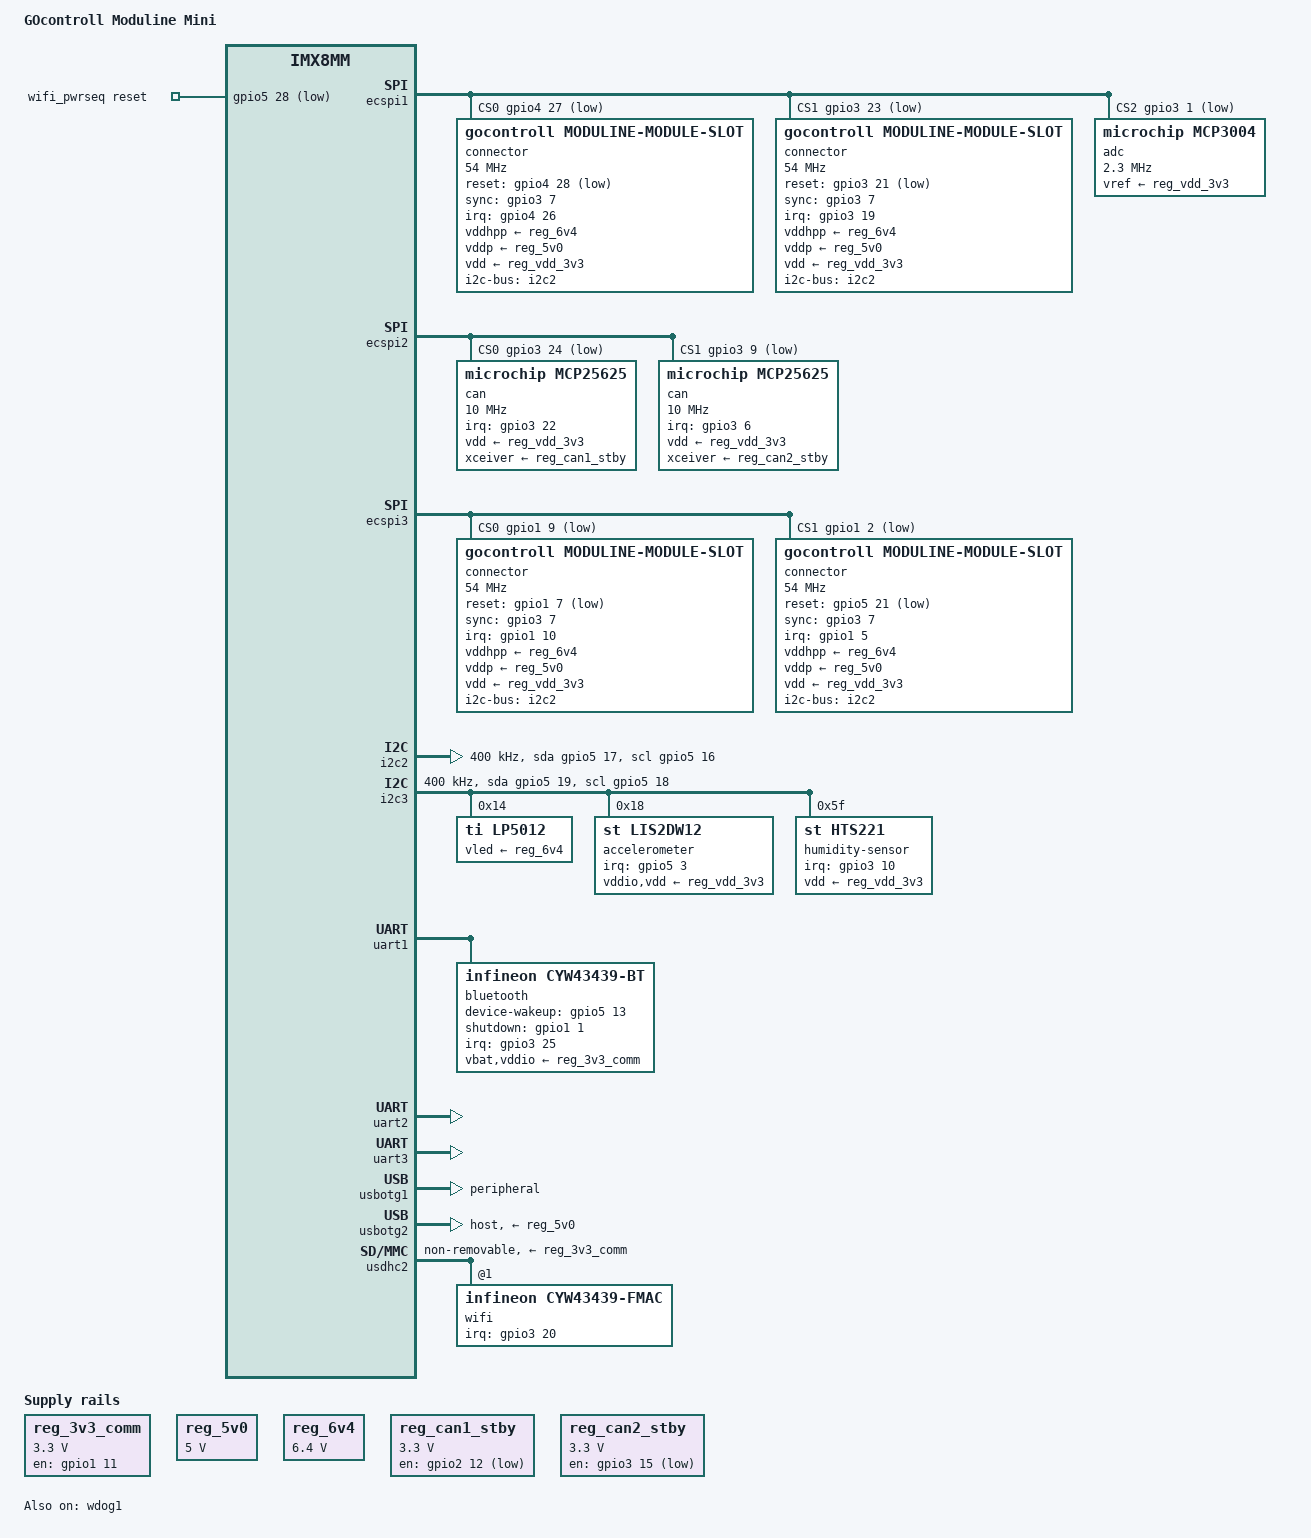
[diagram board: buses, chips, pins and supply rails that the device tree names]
// SPDX-License-Identifier: (GPL-2.0 OR MIT)
/*
 * Copyright (C) 2025 Maud Spierings <maudspierings@gocontroll.com>
 */

/dts-v1/;

#include <dt-bindings/leds/common.h>

#include "imx8mm-tx8m-1610.dtsi"

/ {
	chassis-type = "embedded";
	compatible = "gocontroll,moduline-mini-111", "karo,tx8m-1610", "fsl,imx8mm";
	hardware = "Moduline Mini V1.11";
	model = "GOcontroll Moduline Mini";

	aliases {
		spi0 = &ecspi2; /* spidev number compatibility */
		spi1 = &ecspi3; /* spidev number compatibility */
		spi2 = &ecspi1; /* spidev number compatibility */
	};

	chosen {
		stdout-path = "serial2:115200n8";
	};

	mcp_clock: mcp-clock {
		compatible = "fixed-clock";
		#clock-cells = <0>;
		clock-frequency = <20000000>;
	};

	reg_3v3_comm: regulator-3v3-communication {
		compatible = "regulator-fixed";
		enable-active-high;
		gpio = <&gpio1 11 GPIO_ACTIVE_HIGH>;
		pinctrl-0 = <&pinctrl_reg_comm>;
		pinctrl-names = "default";
		power-supply = <&reg_6v4>;
		/* also powers the cellular modem which can't vote on the regulator */
		regulator-always-on;
		regulator-max-microvolt = <3300000>;
		regulator-min-microvolt = <3300000>;
		regulator-name = "3v3_comm";
	};

	reg_5v0: regulator-5v0 {
		compatible = "regulator-fixed";
		power-supply = <&reg_6v4>;
		regulator-always-on;
		regulator-max-microvolt = <5000000>;
		regulator-min-microvolt = <5000000>;
		regulator-name = "5v0";
	};

	reg_6v4: regulator-6v4 {
		compatible = "regulator-fixed";
		regulator-always-on;
		regulator-max-microvolt = <6400000>;
		regulator-min-microvolt = <6400000>;
		regulator-name = "6v4";
	};

	reg_can1_stby: regulator-can1-stby {
		compatible = "regulator-fixed";
		gpio = <&gpio2 12 GPIO_ACTIVE_LOW>;
		pinctrl-0 = <&pinctrl_can1_reg>;
		pinctrl-names = "default";
		regulator-max-microvolt = <3300000>;
		regulator-min-microvolt = <3300000>;
		regulator-name = "can1-stby";
	};

	reg_can2_stby: regulator-can2-stby {
		compatible = "regulator-fixed";
		gpio = <&gpio3 15 GPIO_ACTIVE_LOW>;
		pinctrl-0 = <&pinctrl_can2_reg>;
		pinctrl-names = "default";
		regulator-max-microvolt = <3300000>;
		regulator-min-microvolt = <3300000>;
		regulator-name = "can2-stby";
	};

	wifi_pwrseq: wifi-pwrseq {
		compatible = "mmc-pwrseq-simple";
		pinctrl-0 = <&pinctrl_wl_reg>;
		pinctrl-names = "default";
		post-power-on-delay-ms = <100>;
		power-off-delay-us = <500000>;
		reset-gpios = <&gpio5 28 GPIO_ACTIVE_LOW>;
	};
};

&ecspi1 {
	cs-gpios = <&gpio4 27 GPIO_ACTIVE_LOW>,
		   <&gpio3 23 GPIO_ACTIVE_LOW>,
		   <&gpio3 1 GPIO_ACTIVE_LOW>;
	pinctrl-0 = <&pinctrl_ecspi1>;
	pinctrl-names = "default";
	status = "okay";

	connector@0 {
		compatible = "gocontroll,moduline-module-slot";
		reg = <0>;
		i2c-bus = <&i2c2>;
		interrupt-parent = <&gpio4>;
		interrupts = <26 IRQ_TYPE_EDGE_FALLING>;
		reset-gpios = <&gpio4 28 GPIO_ACTIVE_LOW>;
		slot-number = <3>;
		spi-max-frequency = <54000000>;
		sync-gpios = <&gpio3 7 GPIO_ACTIVE_HIGH>;
		vddhpp-supply = <&reg_6v4>;
		vddp-supply = <&reg_5v0>;
		vdd-supply = <&reg_vdd_3v3>;
	};

	connector@1 {
		compatible = "gocontroll,moduline-module-slot";
		reg = <1>;
		i2c-bus = <&i2c2>;
		interrupt-parent = <&gpio3>;
		interrupts = <19 IRQ_TYPE_EDGE_FALLING>;
		reset-gpios = <&gpio3 21 GPIO_ACTIVE_LOW>;
		slot-number = <4>;
		spi-max-frequency = <54000000>;
		sync-gpios = <&gpio3 7 GPIO_ACTIVE_HIGH>;
		vddhpp-supply = <&reg_6v4>;
		vddp-supply = <&reg_5v0>;
		vdd-supply = <&reg_vdd_3v3>;
	};

	adc@2 {
		compatible = "microchip,mcp3004";
		reg = <2>;
		spi-max-frequency = <2300000>;
		vref-supply = <&reg_vdd_3v3>;
	};
};

&ecspi2 {
	cs-gpios = <&gpio3 24 GPIO_ACTIVE_LOW>,
		   <&gpio3 9 GPIO_ACTIVE_LOW>;
	pinctrl-0 = <&pinctrl_ecspi2>;
	pinctrl-names = "default";
	status = "okay";

	can@0 {
		compatible = "microchip,mcp25625";
		reg = <0>;
		clocks = <&mcp_clock>;
		interrupt-parent = <&gpio3>;
		interrupts = <22 IRQ_TYPE_LEVEL_LOW>;
		pinctrl-0 = <&pinctrl_can1>;
		pinctrl-names = "default";
		spi-max-frequency = <10000000>;
		vdd-supply = <&reg_vdd_3v3>;
		xceiver-supply = <&reg_can1_stby>;
	};

	can@1 {
		compatible = "microchip,mcp25625";
		reg = <1>;
		clocks = <&mcp_clock>;
		interrupt-parent = <&gpio3>;
		interrupts = <6 IRQ_TYPE_LEVEL_LOW>;
		pinctrl-0 = <&pinctrl_can2>;
		pinctrl-names = "default";
		spi-max-frequency = <10000000>;
		vdd-supply = <&reg_vdd_3v3>;
		xceiver-supply = <&reg_can2_stby>;
	};
};

&ecspi3 {
	cs-gpios = <&gpio1 9 GPIO_ACTIVE_LOW>,
		   <&gpio1 2 GPIO_ACTIVE_LOW>;
	pinctrl-0 = <&pinctrl_ecspi3>;
	pinctrl-names = "default";
	status = "okay";

	connector@0 {
		compatible = "gocontroll,moduline-module-slot";
		reg = <0>;
		i2c-bus = <&i2c2>;
		interrupt-parent = <&gpio1>;
		interrupts = <10 IRQ_TYPE_EDGE_FALLING>;
		reset-gpios = <&gpio1 7 GPIO_ACTIVE_LOW>;
		slot-number = <1>;
		spi-max-frequency = <54000000>;
		sync-gpios = <&gpio3 7 GPIO_ACTIVE_HIGH>;
		vddhpp-supply = <&reg_6v4>;
		vddp-supply = <&reg_5v0>;
		vdd-supply = <&reg_vdd_3v3>;
	};

	connector@1 {
		compatible = "gocontroll,moduline-module-slot";
		reg = <1>;
		i2c-bus = <&i2c2>;
		interrupt-parent = <&gpio1>;
		interrupts = <5 IRQ_TYPE_EDGE_FALLING>;
		reset-gpios = <&gpio5 21 GPIO_ACTIVE_LOW>;
		slot-number = <2>;
		spi-max-frequency = <54000000>;
		sync-gpios = <&gpio3 7 GPIO_ACTIVE_HIGH>;
		vddhpp-supply = <&reg_6v4>;
		vddp-supply = <&reg_5v0>;
		vdd-supply = <&reg_vdd_3v3>;
	};
};

&gpu_2d {
	status = "disabled";
};

&gpu_3d {
	status = "disabled";
};

&i2c2 {
	clock-frequency = <400000>;
	pinctrl-0 = <&pinctrl_i2c2>;
	pinctrl-1 = <&pinctrl_i2c2_gpio>;
	pinctrl-names = "default", "gpio";
	scl-gpios = <&gpio5 16 (GPIO_ACTIVE_HIGH | GPIO_OPEN_DRAIN)>;
	sda-gpios = <&gpio5 17 (GPIO_ACTIVE_HIGH | GPIO_OPEN_DRAIN)>;
	status = "okay";
};

&i2c3 {
	clock-frequency = <400000>;
	pinctrl-0 = <&pinctrl_i2c3>;
	pinctrl-1 = <&pinctrl_i2c3_gpio>;
	pinctrl-names = "default", "gpio";
	scl-gpios = <&gpio5 18 (GPIO_ACTIVE_HIGH | GPIO_OPEN_DRAIN)>;
	sda-gpios = <&gpio5 19 (GPIO_ACTIVE_HIGH | GPIO_OPEN_DRAIN)>;
	status = "okay";

	lp5012@14 {
		compatible = "ti,lp5012";
		reg = <0x14>;
		vled-supply = <&reg_6v4>;
		#address-cells = <1>;
		#size-cells = <0>;

		multi-led@0 {
			#address-cells = <1>;
			#size-cells = <0>;
			reg = <0>;
			color = <LED_COLOR_ID_RGB>;
			label = "case-led1";

			led@0 {
				reg = <0>;
				color = <LED_COLOR_ID_RED>;
			};

			led@1 {
				reg = <1>;
				color = <LED_COLOR_ID_GREEN>;
			};

			led@2 {
				reg = <2>;
				color = <LED_COLOR_ID_BLUE>;
			};
		};

		multi-led@1 {
			#address-cells = <1>;
			#size-cells = <0>;
			reg = <1>;
			color = <LED_COLOR_ID_RGB>;
			label = "case-led2";

			led@0 {
				reg = <0>;
				color = <LED_COLOR_ID_RED>;
			};

			led@1 {
				reg = <1>;
				color = <LED_COLOR_ID_GREEN>;
			};

			led@2 {
				reg = <2>;
				color = <LED_COLOR_ID_BLUE>;
			};
		};

		multi-led@2 {
			#address-cells = <1>;
			#size-cells = <0>;
			reg = <2>;
			color = <LED_COLOR_ID_RGB>;
			label = "case-led3";

			led@0 {
				reg = <0>;
				color = <LED_COLOR_ID_RED>;
			};

			led@1 {
				reg = <1>;
				color = <LED_COLOR_ID_GREEN>;
			};

			led@2 {
				reg = <2>;
				color = <LED_COLOR_ID_BLUE>;
			};
		};

		multi-led@3 {
			#address-cells = <1>;
			#size-cells = <0>;
			reg = <3>;
			color = <LED_COLOR_ID_RGB>;
			label = "case-led4";

			led@0 {
				reg = <0>;
				color = <LED_COLOR_ID_RED>;
			};

			led@1 {
				reg = <1>;
				color = <LED_COLOR_ID_GREEN>;
			};

			led@2 {
				reg = <2>;
				color = <LED_COLOR_ID_BLUE>;
			};
		};
	};

	accelerometer@18 {
		compatible = "st,lis2dw12";
		reg = <0x18>;
		interrupt-parent = <&gpio5>;
		interrupts = <3 IRQ_TYPE_EDGE_RISING>, <5 IRQ_TYPE_EDGE_RISING>;
		pinctrl-0 = <&pinctrl_lis_int>;
		pinctrl-names = "default";
		vddio-supply = <&reg_vdd_3v3>;
		vdd-supply = <&reg_vdd_3v3>;
	};

	humidity-sensor@5f {
		compatible = "st,hts221";
		reg = <0x5f>;
		interrupt-parent = <&gpio3>;
		interrupts = <10 IRQ_TYPE_EDGE_RISING>;
		pinctrl-0 = <&pinctrl_hts_int>;
		pinctrl-names = "default";
		vdd-supply = <&reg_vdd_3v3>;
	};
};

&iomuxc {
	pinctrl_bt: btgrp {
		fsl,pins = <
			MX8MM_IOMUXC_GPIO1_IO01_GPIO1_IO1
				MX8MM_DSE_X1
			MX8MM_IOMUXC_SAI5_MCLK_GPIO3_IO25
				(MX8MM_PULL_UP | MX8MM_PULL_ENABLE | MX8MM_HYS_SCHMITT)
			MX8MM_IOMUXC_ECSPI2_SS0_GPIO5_IO13
				MX8MM_DSE_X1
		>;
	};

	pinctrl_can1: can1grp {
		fsl,pins = <
			MX8MM_IOMUXC_SAI2_TXC_GPIO4_IO25
				(MX8MM_PULL_UP | MX8MM_PULL_ENABLE)
			MX8MM_IOMUXC_SAI5_RXD1_GPIO3_IO22
				(MX8MM_PULL_UP | MX8MM_PULL_ENABLE | MX8MM_HYS_SCHMITT)
		>;
	};

	pinctrl_can1_reg: can1reggrp {
		fsl,pins = <
			MX8MM_IOMUXC_SD2_CD_B_GPIO2_IO12
				(MX8MM_DSE_X2 | MX8MM_FSEL_FAST | MX8MM_PULL_UP | MX8MM_PULL_ENABLE)
		>;
	};

	pinctrl_can2: can2grp {
		fsl,pins = <
			MX8MM_IOMUXC_NAND_CLE_GPIO3_IO5
				(MX8MM_PULL_UP | MX8MM_PULL_ENABLE)
			MX8MM_IOMUXC_NAND_DATA00_GPIO3_IO6
				(MX8MM_PULL_UP | MX8MM_PULL_ENABLE | MX8MM_HYS_SCHMITT)
		>;
	};

	pinctrl_can2_reg: can2reggrp {
		fsl,pins = <
			MX8MM_IOMUXC_NAND_RE_B_GPIO3_IO15
				(MX8MM_DSE_X2 | MX8MM_FSEL_FAST | MX8MM_PULL_UP | MX8MM_PULL_ENABLE)
		>;
	};

	pinctrl_ecspi1: ecspi1grp {
		fsl,pins = <
			MX8MM_IOMUXC_ECSPI1_MOSI_ECSPI1_MOSI
				MX8MM_DSE_X4
			MX8MM_IOMUXC_ECSPI1_MISO_ECSPI1_MISO
				(MX8MM_DSE_X4 | MX8MM_HYS_SCHMITT)
			MX8MM_IOMUXC_ECSPI1_SCLK_ECSPI1_SCLK
				MX8MM_DSE_X4
			MX8MM_IOMUXC_SAI2_MCLK_GPIO4_IO27
				MX8MM_DSE_X1
			MX8MM_IOMUXC_SAI5_RXD2_GPIO3_IO23
				MX8MM_DSE_X1
			MX8MM_IOMUXC_NAND_CE0_B_GPIO3_IO1
				MX8MM_DSE_X1
		>;
	};

	pinctrl_ecspi2: ecspi2grp {
		fsl,pins = <
			MX8MM_IOMUXC_ECSPI2_MOSI_ECSPI2_MOSI
				MX8MM_DSE_X4
			MX8MM_IOMUXC_ECSPI2_MISO_ECSPI2_MISO
				(MX8MM_DSE_X4 | MX8MM_HYS_SCHMITT)
			MX8MM_IOMUXC_ECSPI2_SCLK_ECSPI2_SCLK
				MX8MM_DSE_X4
			MX8MM_IOMUXC_SAI5_RXD3_GPIO3_IO24
				MX8MM_DSE_X1
			MX8MM_IOMUXC_NAND_DATA03_GPIO3_IO9
				MX8MM_DSE_X1
		>;
	};

	pinctrl_ecspi3: ecspi3grp {
		fsl,pins = <
			MX8MM_IOMUXC_UART1_TXD_ECSPI3_MOSI
				MX8MM_DSE_X4
			MX8MM_IOMUXC_UART2_RXD_ECSPI3_MISO
				(MX8MM_DSE_X4 | MX8MM_HYS_SCHMITT)
			MX8MM_IOMUXC_UART1_RXD_ECSPI3_SCLK
				MX8MM_DSE_X4
			MX8MM_IOMUXC_GPIO1_IO09_GPIO1_IO9
				MX8MM_DSE_X1
			MX8MM_IOMUXC_GPIO1_IO02_GPIO1_IO2
				MX8MM_DSE_X1
		>;
	};

	pinctrl_hts_int: htsintgrp {
		fsl,pins = <
			MX8MM_IOMUXC_NAND_DATA04_GPIO3_IO10
				(MX8MM_PULL_ENABLE | MX8MM_HYS_SCHMITT)
		>;
	};

	pinctrl_i2c2: i2c2grp {
		fsl,pins = <
			MX8MM_IOMUXC_I2C2_SCL_I2C2_SCL
				MX8MM_I2C_DEFAULT
			MX8MM_IOMUXC_I2C2_SDA_I2C2_SDA
				MX8MM_I2C_DEFAULT
		>;
	};

	pinctrl_i2c2_gpio: i2c2-gpiogrp {
		fsl,pins = <
			MX8MM_IOMUXC_I2C2_SCL_GPIO5_IO16
				MX8MM_I2C_DEFAULT
			MX8MM_IOMUXC_I2C2_SDA_GPIO5_IO17
				MX8MM_I2C_DEFAULT
		>;
	};

	pinctrl_i2c3: i2c3grp {
		fsl,pins = <
			MX8MM_IOMUXC_I2C3_SCL_I2C3_SCL
				MX8MM_I2C_DEFAULT
			MX8MM_IOMUXC_I2C3_SDA_I2C3_SDA
				MX8MM_I2C_DEFAULT
		>;
	};

	pinctrl_i2c3_gpio: i2c3-gpiogrp {
		fsl,pins = <
			MX8MM_IOMUXC_I2C3_SCL_GPIO5_IO18
				MX8MM_I2C_DEFAULT
			MX8MM_IOMUXC_I2C3_SDA_GPIO5_IO19
				MX8MM_I2C_DEFAULT
		>;
	};

	pinctrl_lis_int: lisintgrp {
		fsl,pins = <
			MX8MM_IOMUXC_SPDIF_TX_GPIO5_IO3
				(MX8MM_PULL_ENABLE | MX8MM_HYS_SCHMITT)
			MX8MM_IOMUXC_SPDIF_EXT_CLK_GPIO5_IO5
				(MX8MM_PULL_ENABLE | MX8MM_HYS_SCHMITT)
		>;
	};

	pinctrl_reg_comm: reg_commgrp {
		fsl,pins = <
			MX8MM_IOMUXC_GPIO1_IO11_GPIO1_IO11
				MX8MM_DSE_X1
		>;
	};

	pinctrl_sysfs_gpios: sysfsgpiogrp {
		fsl,pins = <
			MX8MM_IOMUXC_GPIO1_IO07_GPIO1_IO7
				MX8MM_DSE_X1
			MX8MM_IOMUXC_I2C4_SDA_GPIO5_IO21
				MX8MM_DSE_X1
			MX8MM_IOMUXC_SAI3_RXFS_GPIO4_IO28
				MX8MM_DSE_X1
			MX8MM_IOMUXC_SAI5_RXD0_GPIO3_IO21
				MX8MM_DSE_X1
			MX8MM_IOMUXC_SD2_WP_GPIO2_IO20
				MX8MM_DSE_X1
			MX8MM_IOMUXC_GPIO1_IO00_GPIO1_IO0
				MX8MM_DSE_X1
			MX8MM_IOMUXC_GPIO1_IO04_GPIO1_IO4
				MX8MM_DSE_X1
			MX8MM_IOMUXC_GPIO1_IO06_GPIO1_IO6
				MX8MM_DSE_X1
		>;
	};

	pinctrl_uart1: uart1grp {
		fsl,pins = <
			MX8MM_IOMUXC_SAI2_RXC_UART1_DCE_RX
				(MX8MM_PULL_UP | MX8MM_PULL_ENABLE)
			MX8MM_IOMUXC_SAI2_RXFS_UART1_DCE_TX
				(MX8MM_PULL_UP | MX8MM_PULL_ENABLE)
			MX8MM_IOMUXC_SAI2_RXD0_UART1_DCE_RTS_B
				(MX8MM_PULL_UP | MX8MM_PULL_ENABLE)
			MX8MM_IOMUXC_SAI2_TXFS_UART1_DCE_CTS_B
				(MX8MM_PULL_UP | MX8MM_PULL_ENABLE)
		>;
	};

	pinctrl_uart2: uart2grp {
		fsl,pins = <
			MX8MM_IOMUXC_SAI3_TXFS_UART2_DCE_RX
				(MX8MM_PULL_UP | MX8MM_PULL_ENABLE)
			MX8MM_IOMUXC_SAI3_TXC_UART2_DCE_TX
				(MX8MM_PULL_UP | MX8MM_PULL_ENABLE)
			MX8MM_IOMUXC_SAI3_RXD_UART2_DCE_RTS_B
				(MX8MM_PULL_UP | MX8MM_PULL_ENABLE)
			MX8MM_IOMUXC_SAI3_RXC_UART2_DCE_CTS_B
				(MX8MM_PULL_UP | MX8MM_PULL_ENABLE)
		>;
	};

	pinctrl_uart3: uart3grp {
		fsl,pins = <
			MX8MM_IOMUXC_UART3_RXD_UART3_DCE_RX
				(MX8MM_PULL_UP | MX8MM_PULL_ENABLE)
			MX8MM_IOMUXC_UART3_TXD_UART3_DCE_TX
				(MX8MM_PULL_UP | MX8MM_PULL_ENABLE)
		>;
	};

	pinctrl_usdhc2: pinctrlusdhc2grp {
		fsl,pins = <
			MX8MM_IOMUXC_SD2_CLK_USDHC2_CLK
				(MX8MM_DSE_X2 | MX8MM_FSEL_FAST | MX8MM_PULL_ENABLE)
			MX8MM_IOMUXC_SD2_CMD_USDHC2_CMD
				(MX8MM_DSE_X2 | MX8MM_USDHC_DATA_DEFAULT)
			MX8MM_IOMUXC_SD2_DATA0_USDHC2_DATA0
				(MX8MM_DSE_X2 | MX8MM_USDHC_DATA_DEFAULT)
			MX8MM_IOMUXC_SD2_DATA1_USDHC2_DATA1
				(MX8MM_DSE_X2 | MX8MM_USDHC_DATA_DEFAULT)
			MX8MM_IOMUXC_SD2_DATA2_USDHC2_DATA2
				(MX8MM_DSE_X2 | MX8MM_USDHC_DATA_DEFAULT)
			MX8MM_IOMUXC_SD2_DATA3_USDHC2_DATA3
				(MX8MM_DSE_X2 | MX8MM_USDHC_DATA_DEFAULT)
		>;
	};

	pinctrl_wl_int: wlintgrp {
		fsl,pins = <
			MX8MM_IOMUXC_SAI5_RXC_GPIO3_IO20
				(MX8MM_PULL_UP | MX8MM_HYS_SCHMITT | MX8MM_PULL_ENABLE)
		>;
	};

	pinctrl_wl_reg: wlreggrp {
		fsl,pins = <
			MX8MM_IOMUXC_UART4_RXD_GPIO5_IO28
				MX8MM_DSE_X1
		>;
	};
};

&uart1 {
	pinctrl-0 = <&pinctrl_uart1>;
	pinctrl-names = "default";
	uart-has-rtscts;
	status = "okay";

	bluetooth {
		compatible = "infineon,cyw43439-bt", "brcm,bcm4329-bt";
		device-wakeup-gpios = <&gpio5 13 GPIO_ACTIVE_HIGH>;
		interrupt-names = "host-wakeup";
		interrupt-parent = <&gpio3>;
		interrupts = <25 IRQ_TYPE_EDGE_FALLING>;
		max-speed = <921600>;
		pinctrl-0 = <&pinctrl_bt>;
		pinctrl-names = "default";
		shutdown-gpios = <&gpio1 1 GPIO_ACTIVE_HIGH>;
		vbat-supply = <&reg_3v3_comm>;
		vddio-supply = <&reg_3v3_comm>;
	};
};

&uart2 {
	pinctrl-0 = <&pinctrl_uart2>;
	pinctrl-names = "default";
	uart-has-rtscts;
	status = "okay";
};

&uart3 {
	pinctrl-0 = <&pinctrl_uart3>;
	pinctrl-names = "default";
	status = "okay";
};

&usbotg1 {
	disable-over-current;
	dr_mode = "peripheral";
	status = "okay";
};

&usbotg2 {
	disable-over-current;
	dr_mode = "host";
	vbus-supply = <&reg_5v0>;
	status = "okay";
};

&usdhc2 {
	#address-cells = <1>;
	#size-cells = <0>;
	cap-power-off-card;
	keep-power-in-suspend;
	max-frequency = <50000000>;
	mmc-pwrseq = <&wifi_pwrseq>;
	non-removable;
	pinctrl-0 = <&pinctrl_usdhc2>;
	pinctrl-names = "default";
	sd-uhs-sdr25;
	vmmc-supply = <&reg_3v3_comm>;
	status = "okay";

	wifi@1 {
		compatible = "infineon,cyw43439-fmac", "brcm,bcm4329-fmac";
		reg = <1>;
		pinctrl-0 = <&pinctrl_wl_int>;
		pinctrl-names = "default";
		interrupt-names = "host-wake";
		interrupt-parent = <&gpio3>;
		interrupts = <20 IRQ_TYPE_LEVEL_LOW>;
		brcm,board-type = "GOcontroll,moduline";
	};
};

&vpu_blk_ctrl {
	status = "disabled";
};

&vpu_g1 {
	status = "disabled";
};

&vpu_g2 {
	status = "disabled";
};

&wdog1 {
	status = "okay";
};
